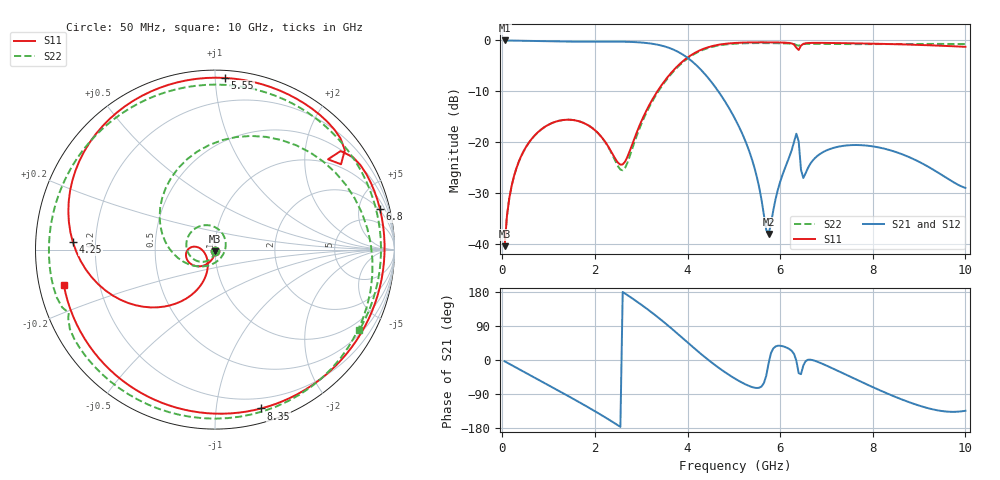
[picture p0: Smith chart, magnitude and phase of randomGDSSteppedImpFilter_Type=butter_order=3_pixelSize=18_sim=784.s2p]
! freq	dB(S11)	phase(S11)	dB(S12)	phase(S12)
!  dB(S21)	phase(S21)	dB(S22)	phase(S22)
!S-par simulation data
#  GHz  S  DB  R 50
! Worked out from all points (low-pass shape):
!   200 points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, 50 MHz to 10 GHz, reference 50 ohm
!   highest |S21| = -0.01 dB at 50 MHz (marker M1); lowest = -38.1 dB at 5.75 GHz (marker M2)
!   |S21| within 3 dB of the highest: start of sweep to 3.936 GHz
!   lowest |S11| = -40.5 dB at 50 MHz (marker M3), VSWR 1.02, Z = 50 - j0.947 ohm
!   |S11| at or under -10 dB: start of sweep to 3.349 GHz
!   |S22| runs from -40.5 to -0.5 dB; largest |S21 - S12| = 0
!   S11 on the Smith chart (normalised r, x): 50 MHz: 1.00, -0.02; 4.25 GHz: 0.12, +0.03; 5.55 GHz: 0.05, +1.06; 6.8 GHz: 1.81, +7.85; 8.35 GHz: 0.11, -1.33; 10 GHz: 0.07, -0.11
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0.05  -40.46 -91.9  -0.01 -3.4  -0.01 -3.4  -40.47 -93.0
0.2  -28.67 -100.6  -0.03 -13.5  -0.03 -13.5  -28.69 -105.6
0.55  -20.42 -120.2  -0.09 -36.8  -0.09 -36.8  -20.44 -134.3
1.15  -15.99 -151.2  -0.20 -76.7  -0.20 -76.7  -15.99 176.6
1.75  -16.21 -178.2  -0.25 -117.5  -0.25 -117.5  -16.20 122.4
2.6  -24.39 -146.3  -0.25 179.6  -0.25 179.6  -25.54 -33.4
3  -15.97 -109.4  -0.41 146.1  -0.41 146.1  -16.49 -143.2
3.4  -9.31 -123.0  -0.93 108.9  -0.93 108.9  -9.59 156.6
3.9  -4.08 -155.9  -2.79 57.1  -2.79 57.1  -4.28 86.2
4.25  -2.02 177.1  -5.40 20.1  -5.40 20.1  -2.18 39.0
4.65  -0.89 146.7  -9.82 -18.5  -9.82 -18.5  -1.03 -9.3
5.05  -0.48 118.8  -15.85 -51.0  -15.85 -51.0  -0.62 -50.4
5.55  -0.37 86.6  -29.03 -73.1  -29.03 -73.1  -0.52 -93.9
5.75  -0.38 74.1  -38.06 -9.0  -38.06 -9.0  -0.53 -109.6
6.35  -1.43 34.1  -18.35 -1.9  -18.35 -1.9  -0.89 -155.0
6.5  -0.68 34.0  -27.06 -14.5  -27.06 -14.5  -0.72 -163.1
6.7  -0.48 20.0  -23.66 -0.3  -23.66 -0.3  -0.67 -177.9
6.8  -0.48 13.8  -22.74 -4.3  -22.74 -4.3  -0.68 174.9
7.65  -0.57 -35.4  -20.57 -51.9  -20.57 -51.9  -0.73 114.3
8.35  -0.71 -73.8  -21.53 -90.3  -21.53 -90.3  -0.72 65.6
9.15  -0.93 -117.2  -24.60 -125.7  -24.60 -125.7  -0.68 15.2
10  -1.26 -167.0  -29.01 -134.0  -29.01 -134.0  -0.72 -29.2
